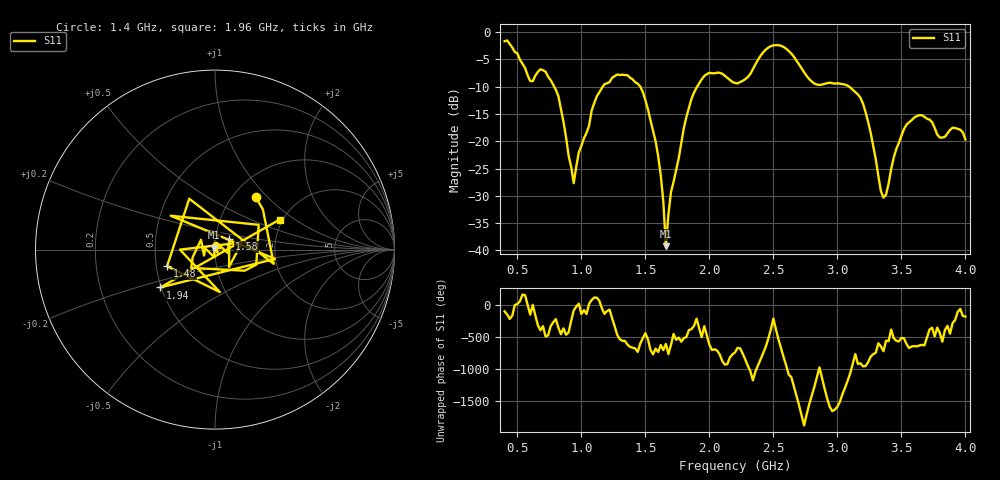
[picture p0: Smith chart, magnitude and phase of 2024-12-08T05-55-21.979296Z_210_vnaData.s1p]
!Created with skrf (http://scikit-rf.org).
# Hz S RI R 50.0
!freq ReS11 ImS11
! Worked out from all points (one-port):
!   181 points, 400 MHz to 4 GHz, reference 50 ohm
!   lowest |S11| = -39.2 dB at 1.66 GHz (marker M1), VSWR 1.02, Z = 49.6 + j1.02 ohm
!   |S11| at or under -10 dB: 787.8 MHz to 1.167 GHz (379.1 MHz wide, 38.8 % of centre); 1.461 GHz to 1.904 GHz (443.5 MHz wide, 26.4 % of centre); 3.092 GHz to end of sweep
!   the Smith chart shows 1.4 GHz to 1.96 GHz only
!   S11 on the Smith chart (normalised r, x): 1.4 GHz: 1.27, +0.85; 1.48 GHz: 0.57, -0.11; 1.58 GHz: 1.16, +0.14; 1.94 GHz: 0.49, -0.24; 1.96 GHz: 1.92, +0.76
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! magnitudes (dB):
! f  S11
! 400 MHz  -1.7
! 600 MHz  -9.0
! 720 MHz  -7.3
! 820 MHz  -11.7
! 860 MHz  -16.4
! 940 MHz  -27.7
! 980 MHz  -22.0
! 1.12 GHz  -11.8
! 1.3 GHz  -7.9
! 1.4 GHz  -8.7
! 1.48 GHz  -11.0
! 1.58 GHz  -20.0
! 1.64 GHz  -31.0
! 1.66 GHz  -39.2
! 1.7 GHz  -29.3
! 1.76 GHz  -23.2
! 1.86 GHz  -12.2
! 1.94 GHz  -8.6
! 1.96 GHz  -8.0
! 2.2 GHz  -9.3
! 2.48 GHz  -2.6
! 2.66 GHz  -4.5
! 2.82 GHz  -9.4
! 3.1 GHz  -10.1
! 3.22 GHz  -14.6
! 3.36 GHz  -30.3
! 3.56 GHz  -16.5
! 4 GHz  -19.7
